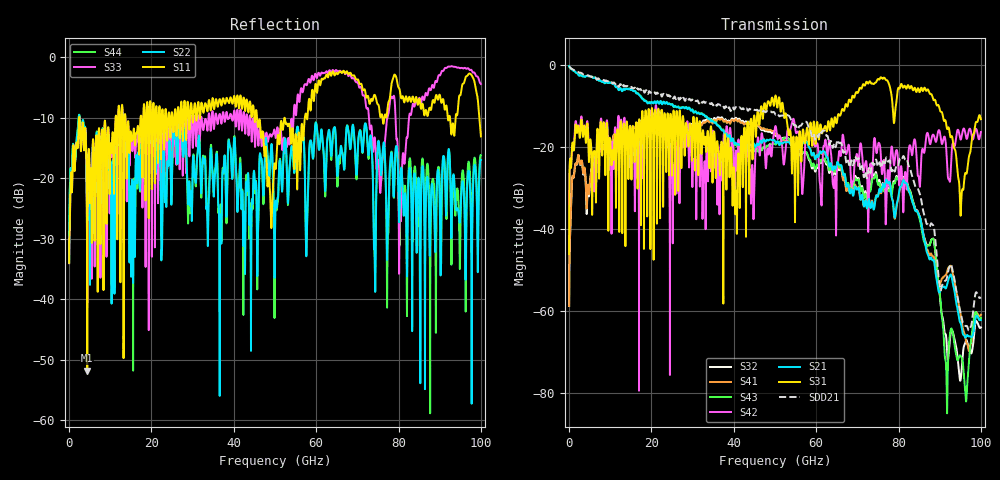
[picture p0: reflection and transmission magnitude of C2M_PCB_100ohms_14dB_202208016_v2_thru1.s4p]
! Info: Touchstone file created by Circ.  Input file=Intel_C2M_200G_3p5in_202208016_staggered.circ
# Hz S RI R 50
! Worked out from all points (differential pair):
!   10000 points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, 10 MHz to 100 GHz, reference 50 ohm
!   strongest paths, dB at 10 MHz, 25.01 GHz, 50.01 GHz, 75.01 GHz, 100 GHz:
!     S31: -46.1, -26.9, -7.8, -3.3, -13.1
!     S21: -0.2, -9.5, -18.5, -31.9, -62.1
!     S42: -46.1, -21.5, -15.1, -19.4, -16.3
!     S43: -0.2, -9.4, -19.3, -29.1, -61.6
!     S41: -58.7, -16.4, -16.6, -31.8, -60.8
!     S32: -58.7, -16.3, -17.1, -28.6, -63.9
!   taken as a pair (ports 1,3 in; 2,4 out), SDD21 dB: -0.2, -7.4, -11.8, -24.7, -56.6
!   lowest |S11| = -51.8 dB at 4.41 GHz (marker M1), VSWR 1.01, Z = 50 + j0.256 ohm
!   |S11| at or under -10 dB: 2.536 GHz to 11.29 GHz (8.755 GHz wide, 127 % of centre); 45.65 GHz to 52.28 GHz (6.627 GHz wide, 13.5 % of centre); 52.36 GHz to 57.24 GHz (4.882 GHz wide, 8.91 % of centre)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
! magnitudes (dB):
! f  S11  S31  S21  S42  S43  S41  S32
! 10 MHz  -34.0  -46.1  -0.2  -46.1  -0.2  -58.7  -58.7
! 1.21 GHz  -16.7  -20.5  -1.3  -19.2  -1.3  -26.7  -26.7
! 4.41 GHz  -51.8  -14.1  -2.6  -13.6  -2.6  -31.6  -32.1
! 44.09 GHz  -8.0  -13.4  -19.3  -30.1  -20.7  -14.4  -14.2
! 80.8 GHz  -6.6  -4.7  -29.2  -25.9  -27.8  -29.4  -27.5
! 91.6 GHz  -7.9  -14.4  -54.2  -20.5  -74.6  -51.0  -66.5
! 100 GHz  -13.1  -13.1  -62.1  -16.3  -61.6  -60.8  -63.9
